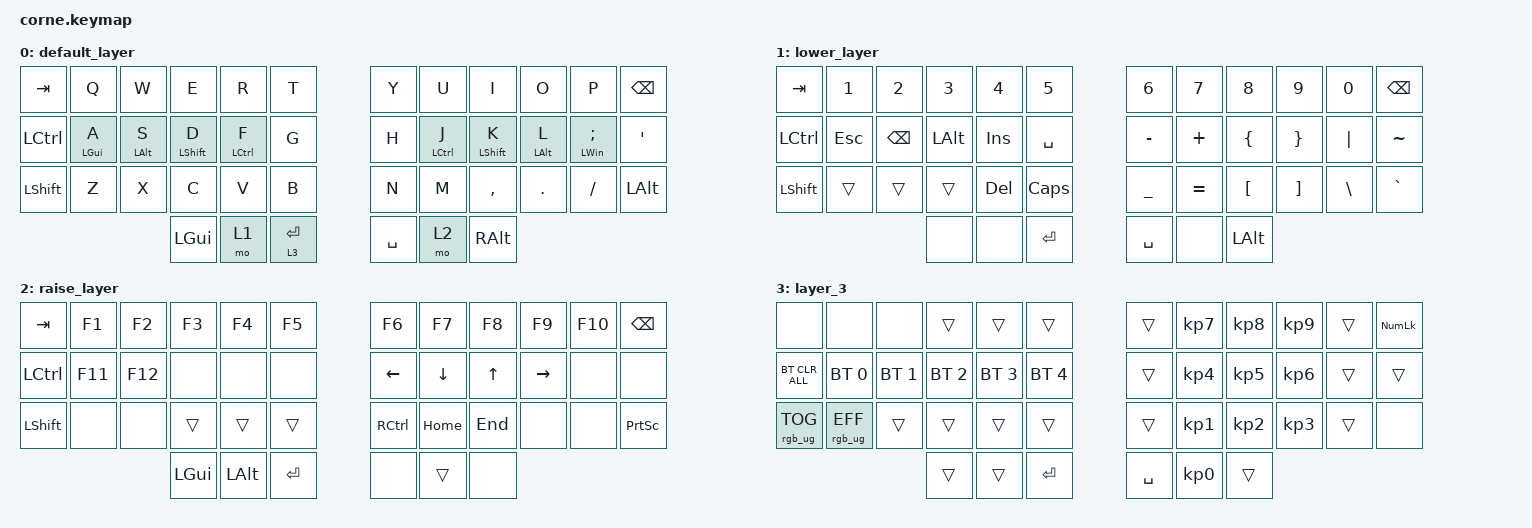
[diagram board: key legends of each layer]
/*
 * Copyright (c) 2020 The ZMK Contributors
 *
 * SPDX-License-Identifier: MIT
 */

#include <behaviors.dtsi>
#include <dt-bindings/zmk/bt.h>
#include <dt-bindings/zmk/keys.h>
#include <dt-bindings/zmk/rgb.h>

&led_strip {
    chain-length = <27>;

    // 21 backlight + 6 glowlight
};

/ {
    behaviors {
        hml: hml {
            compatible = "zmk,behavior-hold-tap";
            label = "HML";
            bindings = <&kp>, <&kp>;

            #binding-cells = <2>;
            tapping-term-ms = <250>;
            quick-tap-ms = <200>;
            require-prior-idle-ms = <125>;
            hold-trigger-key-positions = <13 14 16 15 19 20 21 22>;
            flavor = "tap-preferred";
        };
    };

    keymap {
        compatible = "zmk,keymap";

        default_layer {
            // -----------------------------------------------------------------------------------------
            // |  TAB |  Q  |  W  |  E  |  R  |  T  |   |  Y  |  U   |  I  |  O  |  P  | BKSP |
            // | CTRL |  A  |  S  |  D  |  F  |  G  |   |  H  |  J   |  K  |  L  |  ;  |  '   |
            // | SHFT |  Z  |  X  |  C  |  V  |  B  |   |  N  |  M   |  ,  |  .  |  /  | ESC  |
            //                    | GUI | LWR | SPC |   | ENT | RSE  | ALT |

            bindings = <
&kp TAB    &kp Q            &kp W            &kp E              &kp R                &kp T          &kp Y      &kp U                &kp I              &kp O            &kp P               &kp BSPC
&kp LCTRL  &hml LEFT_GUI A  &hml LEFT_ALT S  &hml LEFT_SHIFT D  &hml LEFT_CONTROL F  &kp G          &kp H      &hml LEFT_CONTROL J  &hml LEFT_SHIFT K  &hml LEFT_ALT L  &hml LEFT_WIN SEMI  &kp SQT
&kp LSHFT  &kp Z            &kp X            &kp C              &kp V                &kp B          &kp N      &kp M                &kp COMMA          &kp DOT          &kp FSLH            &kp LEFT_ALT
                                             &kp LGUI           &mo 1                &lt 3 ENTER    &kp SPACE  &mo 2                &kp RIGHT_ALT
            >;
        };

        lower_layer {
            // -----------------------------------------------------------------------------------------
            // |  TAB |  1  |  2  |  3  |  4  |  5  |   |  6  |  7  |  8  |  9  |  0  | BKSP |
            // | BTCLR| BT1 | BT2 | BT3 | BT4 | BT5 |   | LFT | DWN |  UP | RGT |     |      |
            // | SHFT |     |     |     |     |     |   |     |     |     |     |     |      |
            //                    | GUI |     | SPC |   | ENT |     | ALT |

            bindings = <
&kp TAB           &kp N1   &kp N2         &kp N3        &kp N4      &kp N5       &kp N6     &kp N7     &kp N8          &kp N9           &kp N0    &kp BSPC
&kp LEFT_CONTROL  &kp ESC  &kp BACKSPACE  &kp LEFT_ALT  &kp INSERT  &kp SPACE    &kp MINUS  &kp PLUS   &kp LEFT_BRACE  &kp RIGHT_BRACE  &kp PIPE  &kp TILDE
&kp LSHFT         &trans   &trans         &trans        &kp DELETE  &kp CLCK     &kp UNDER  &kp EQUAL  &kp LBKT        &kp RBKT         &kp BSLH  &kp GRAVE
                                          &none         &none       &kp ENTER    &kp SPACE  &none      &kp LEFT_ALT
            >;
        };

        raise_layer {
            // -----------------------------------------------------------------------------------------
            // |  TAB |  !  |  @  |  #  |  $  |  %  |   |  ^  |  &  |  *  |  (  |  )  | BKSP |
            // | CTRL |     |     |     |     |     |   |  -  |  =  |  [  |  ]  |  \  |  `   |
            // | SHFT |     |     |     |     |     |   |  _  |  +  |  {  |  }  | "|" |  ~   |
            //                    | GUI |     | SPC |   | ENT |     | ALT |

            bindings = <
&kp TAB    &kp F1   &kp F2   &kp F3    &kp F4        &kp F5       &kp F6             &kp F7    &kp F8        &kp F9     &kp F10  &kp BSPC
&kp LCTRL  &kp F11  &kp F12  &none     &none         &none        &kp LEFT           &kp DOWN  &kp UP_ARROW  &kp RIGHT  &none    &none
&kp LSHFT  &none    &none    &trans    &trans        &trans       &kp RIGHT_CONTROL  &kp HOME  &kp END       &none      &none    &kp PRINTSCREEN
                             &kp LGUI  &kp LEFT_ALT  &kp ENTER    &none              &trans    &none
            >;
        };

        layer_3 {
            bindings = <
&none            &none            &none         &trans        &trans        &trans          &trans     &kp KP_NUMBER_7  &kp KP_NUMBER_8  &kp KP_NUMBER_9  &trans  &kp KP_NUMLOCK
&bt BT_CLR_ALL   &bt BT_SEL 0     &bt BT_SEL 1  &bt BT_SEL 2  &bt BT_SEL 3  &bt BT_SEL 4    &trans     &kp KP_NUMBER_4  &kp KP_NUMBER_5  &kp KP_NUMBER_6  &trans  &trans
&rgb_ug RGB_TOG  &rgb_ug RGB_EFF  &trans        &trans        &trans        &trans          &trans     &kp KP_NUMBER_1  &kp KP_NUMBER_2  &kp KP_NUMBER_3  &trans  &none
                                                &trans        &trans        &kp ENTER       &kp SPACE  &kp KP_NUMBER_0  &trans
            >;
        };
    };
};
